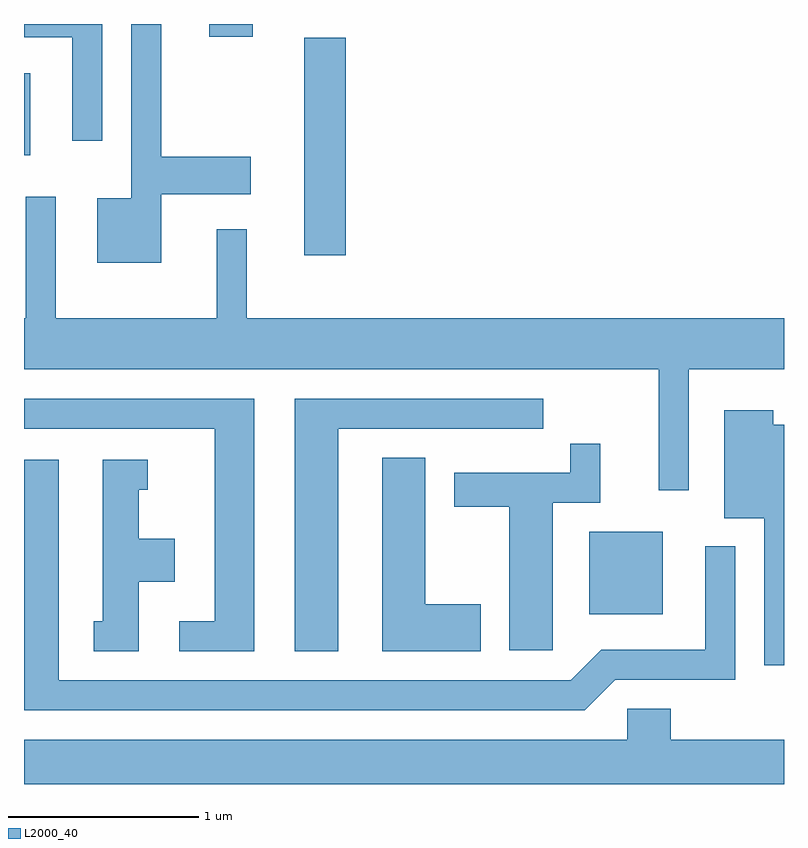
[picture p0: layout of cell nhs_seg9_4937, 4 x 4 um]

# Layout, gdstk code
import gdstk
lib = gdstk.Library(unit=1e-6, precision=1e-09)
def R(c, l, rs):  # rectangles x0, y0, x1, y1
    for r in rs: c.add(gdstk.rectangle(r[:2], r[2:], *l))
def P(c, l, *ps):  # polygons
    for p in ps: c.add(gdstk.Polygon(p, *l))
L2000_40 = (2000, 40)

nhs_seg9_4937 = lib.new_cell('nhs_seg9_4937')
R(nhs_seg9_4937, L2000_40, [(332.586,2079.326,332.974,2079.759), (331.086,2081.216,331.304,2082.359), (329.611,2081.741,329.644,2082.174), (330.586,2082.366,330.814,2082.432)])
P(nhs_seg9_4937, L2000_40, [(330.024,2082.432),(329.611,2082.432),(329.611,2082.361),(329.866,2082.361),(329.866,2081.818),(330.024,2081.818)],
  [(330.334,2081.536),(330.804,2081.536),(330.804,2081.734),(330.334,2081.734),(330.334,2082.432),(330.176,2082.432),(330.176,2081.514),(329.996,2081.514),(329.996,2081.176),(330.334,2081.176)],
  [(333.109,2080.616),(333.611,2080.616),(333.611,2080.884),(330.784,2080.884),(330.784,2081.353),(330.626,2081.353),(330.626,2080.884),(329.779,2080.884),(329.779,2081.523),(329.621,2081.523),(329.621,2080.884),(329.611,2080.884),(329.611,2080.616),(332.951,2080.616),(332.951,2079.978),(333.109,2079.978)],
  [(331.264,2080.301),(332.343,2080.301),(332.343,2080.459),(331.036,2080.459),(331.036,2079.131),(331.264,2079.131)],
  [(330.824,2080.459),(329.611,2080.459),(329.611,2080.301),(330.616,2080.301),(330.616,2079.289),(330.428,2079.289),(330.428,2079.131),(330.824,2079.131)],
  [(333.611,2080.324),(333.554,2080.324),(333.554,2080.399),(333.296,2080.399),(333.296,2079.831),(333.506,2079.831),(333.506,2079.058),(333.611,2079.058)],
  [(332.394,2079.911),(332.644,2079.911),(332.644,2080.222),(332.486,2080.222),(332.486,2080.069),(331.876,2080.069),(331.876,2079.891),(332.166,2079.891),(332.166,2079.136),(332.394,2079.136)],
  [(332.014,2079.379),(331.724,2079.379),(331.724,2080.149),(331.496,2080.149),(331.496,2079.131),(332.014,2079.131)],
  [(330.214,2079.496),(330.404,2079.496),(330.404,2079.724),(330.214,2079.724),(330.214,2079.981),(330.263,2079.981),(330.263,2080.139),(330.026,2080.139),(330.026,2079.289),(329.978,2079.289),(329.978,2079.131),(330.214,2079.131)],
  [(332.722,2078.981),(333.354,2078.981),(333.354,2079.683),(333.196,2079.683),(333.196,2079.139),(332.649,2079.139),(332.489,2078.979),(329.794,2078.979),(329.794,2080.139),(329.611,2080.139),(329.611,2078.821),(332.562,2078.821)],
  [(333.611,2078.664),(333.014,2078.664),(333.014,2078.829),(332.786,2078.829),(332.786,2078.664),(329.611,2078.664),(329.611,2078.432),(333.611,2078.432)])

lib.write_gds('nhs_seg9_4937.gds')
